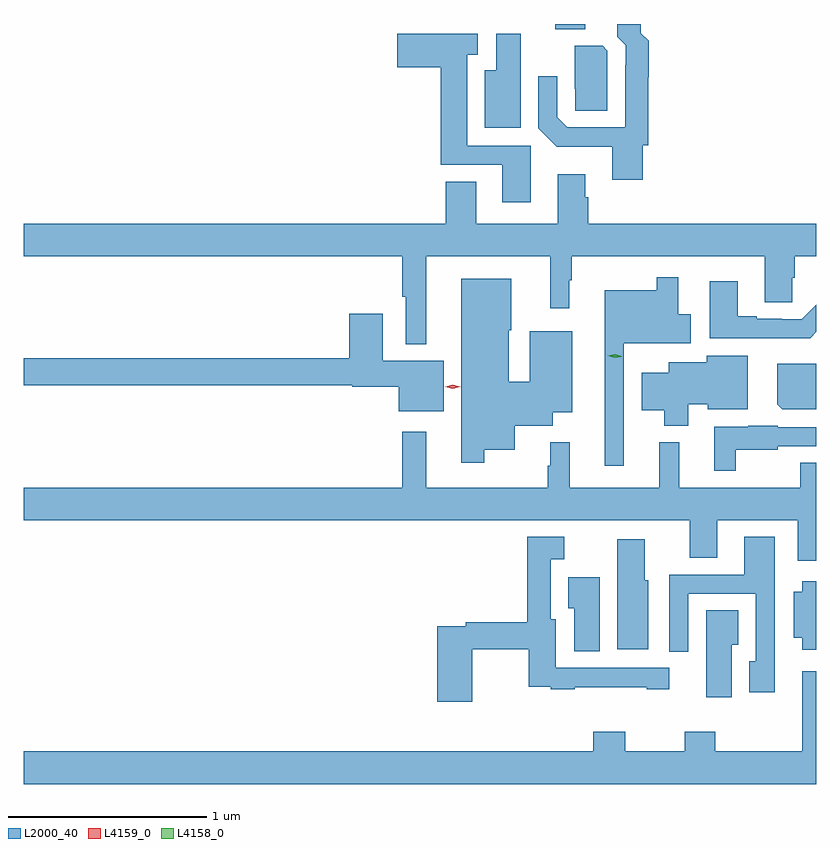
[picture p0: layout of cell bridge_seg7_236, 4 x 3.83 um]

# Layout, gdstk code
import gdstk
lib = gdstk.Library(unit=1e-6, precision=1e-09)
def R(c, l, rs):  # rectangles x0, y0, x1, y1
    for r in rs: c.add(gdstk.rectangle(r[:2], r[2:], *l))
def P(c, l, *ps):  # polygons
    for p in ps: c.add(gdstk.Polygon(p, *l))
L2000_40 = (2000, 40)
L4158_0 = (4158, 0)
L4159_0 = (4159, 0)

bridge_seg7_236 = lib.new_cell('bridge_seg7_236')
R(bridge_seg7_236, L2000_40, [(268.937,1064.365,269.089,1064.391)])
P(bridge_seg7_236, L2000_40, [(269.378,1063.779),(269.405,1063.779),(269.405,1064.122),(269.408,1064.122),(269.408,1064.306),(269.369,1064.344),(269.369,1064.391),(269.249,1064.391),(269.249,1064.326),(269.292,1064.283),(269.292,1064.183),(269.289,1064.183),(269.289,1063.869),(268.998,1063.869),(268.947,1063.92),(268.947,1064.128),(268.851,1064.128),(268.851,1063.866),(268.945,1063.772),(269.225,1063.772),(269.225,1063.605),(269.378,1063.605)],
  [(268.813,1063.776),(268.492,1063.776),(268.492,1064.235),(268.546,1064.235),(268.546,1064.343),(268.14,1064.343),(268.14,1064.174),(268.358,1064.174),(268.358,1063.68),(268.67,1063.68),(268.67,1063.491),(268.813,1063.491)],
  [(268.762,1064.341),(268.64,1064.341),(268.64,1064.158),(268.58,1064.158),(268.58,1063.868),(268.762,1063.868)],
  [(269.199,1064.256),(269.175,1064.28),(269.036,1064.28),(269.036,1064.065),(269.037,1064.065),(269.037,1063.954),(269.199,1063.954)],
  [(268.285,1063.22),(268.91,1063.22),(268.91,1062.957),(269.008,1062.957),(269.008,1063.097),(269.02,1063.097),(269.02,1063.22),(269.993,1063.22),(269.993,1062.988),(270.132,1062.988),(270.132,1063.11),(270.146,1063.11),(270.146,1063.22),(270.254,1063.22),(270.254,1063.384),(269.102,1063.384),(269.102,1063.517),(269.089,1063.517),(269.089,1063.633),(268.949,1063.633),(268.949,1063.384),(268.537,1063.384),(268.537,1063.595),(268.385,1063.595),(268.385,1063.384),(266.254,1063.384),(266.254,1063.22),(268.164,1063.22),(268.164,1063.015),(268.181,1063.015),(268.181,1062.776),(268.285,1062.776)],
  [(269.283,1062.779),(269.62,1062.779),(269.62,1062.927),(269.557,1062.927),(269.557,1063.114),(269.448,1063.114),(269.448,1063.048),(269.186,1063.048),(269.186,1062.162),(269.283,1062.162)],
  [(268.577,1062.242),(268.732,1062.242),(268.732,1062.365),(268.924,1062.365),(268.924,1062.431),(269.023,1062.431),(269.023,1062.841),(268.808,1062.841),(268.808,1062.586),(268.702,1062.586),(268.702,1062.846),(268.714,1062.846),(268.714,1063.105),(268.463,1063.105),(268.463,1062.177),(268.577,1062.177)],
  [(270.254,1062.837),(270.254,1062.974),(270.18,1062.9),(270.08,1062.9),(270.08,1062.903),(269.953,1062.903),(269.953,1062.916),(269.857,1062.916),(269.857,1063.093),(269.717,1063.093),(269.717,1062.806),(270.223,1062.806)],
  [(268.375,1062.691),(268.066,1062.691),(268.066,1062.928),(267.896,1062.928),(267.896,1062.704),(266.254,1062.704),(266.254,1062.568),(267.912,1062.568),(267.912,1062.56),(268.148,1062.56),(268.148,1062.437),(268.375,1062.437)],
  [(269.608,1062.473),(269.706,1062.473),(269.706,1062.446),(269.908,1062.446),(269.908,1062.718),(269.702,1062.718),(269.702,1062.685),(269.51,1062.685),(269.51,1062.631),(269.372,1062.631),(269.372,1062.443),(269.486,1062.443),(269.486,1062.365),(269.608,1062.365)],
  [(270.254,1062.676),(270.056,1062.676),(270.056,1062.472),(270.082,1062.446),(270.254,1062.446)],
  [(269.848,1062.242),(270.06,1062.242),(270.06,1062.261),(270.254,1062.261),(270.254,1062.357),(270.06,1062.357),(270.06,1062.364),(269.91,1062.364),(269.91,1062.358),(269.738,1062.358),(269.738,1062.137),(269.848,1062.137)],
  [(270.254,1062.176),(270.172,1062.176),(270.172,1062.052),(269.561,1062.052),(269.561,1062.28),(269.462,1062.28),(269.462,1062.052),(269.009,1062.052),(269.009,1062.28),(268.91,1062.28),(268.91,1062.161),(268.899,1062.161),(268.899,1062.052),(268.285,1062.052),(268.285,1062.334),(268.164,1062.334),(268.164,1062.052),(266.254,1062.052),(266.254,1061.888),(269.615,1061.888),(269.615,1061.698),(269.755,1061.698),(269.755,1061.888),(270.161,1061.888),(270.161,1061.682),(270.254,1061.682)],
  [(270.045,1061.803),(269.891,1061.803),(269.891,1061.613),(269.511,1061.613),(269.511,1061.223),(269.607,1061.223),(269.607,1061.517),(269.949,1061.517),(269.949,1061.175),(269.915,1061.175),(269.915,1061.019),(270.045,1061.019)],
  [(268.518,1061.236),(268.804,1061.236),(268.804,1061.046),(268.915,1061.046),(268.915,1061.034),(269.035,1061.034),(269.035,1061.044),(269.399,1061.044),(269.399,1061.034),(269.511,1061.034),(269.511,1061.142),(268.939,1061.142),(268.939,1061.388),(268.915,1061.388),(268.915,1061.69),(268.981,1061.69),(268.981,1061.803),(268.794,1061.803),(268.794,1061.372),(268.486,1061.372),(268.486,1061.352),(268.34,1061.352),(268.34,1060.971),(268.518,1060.971)],
  [(269.407,1061.583),(269.389,1061.583),(269.389,1061.791),(269.249,1061.791),(269.249,1061.235),(269.407,1061.235)],
  [(269.161,1061.599),(269.003,1061.599),(269.003,1061.443),(269.033,1061.443),(269.033,1061.227),(269.161,1061.227)],
  [(270.254,1061.578),(270.182,1061.578),(270.182,1061.527),(270.14,1061.527),(270.14,1061.294),(270.182,1061.294),(270.182,1061.234),(270.254,1061.234)],
  [(269.827,1061.258),(269.86,1061.258),(269.86,1061.432),(269.699,1061.432),(269.699,1060.995),(269.827,1060.995)],
  [(270.254,1061.125),(270.182,1061.125),(270.182,1060.72),(269.745,1060.72),(269.745,1060.819),(269.59,1060.819),(269.59,1060.72),(269.289,1060.72),(269.289,1060.819),(269.129,1060.819),(269.129,1060.72),(266.254,1060.72),(266.254,1060.556),(270.254,1060.556)])
P(bridge_seg7_236, L4158_0, [(269.236,1062.706),(269.202,1062.717),(269.201,1062.717),(269.202,1062.717),(269.238,1062.725),(269.272,1062.714),(269.273,1062.714),(269.272,1062.713)])
P(bridge_seg7_236, L4159_0, [(268.418,1062.55),(268.381,1062.56),(268.381,1062.561),(268.381,1062.561),(268.419,1062.57),(268.456,1062.56),(268.456,1062.56),(268.456,1062.56)])

lib.write_gds('bridge_seg7_236.gds')
